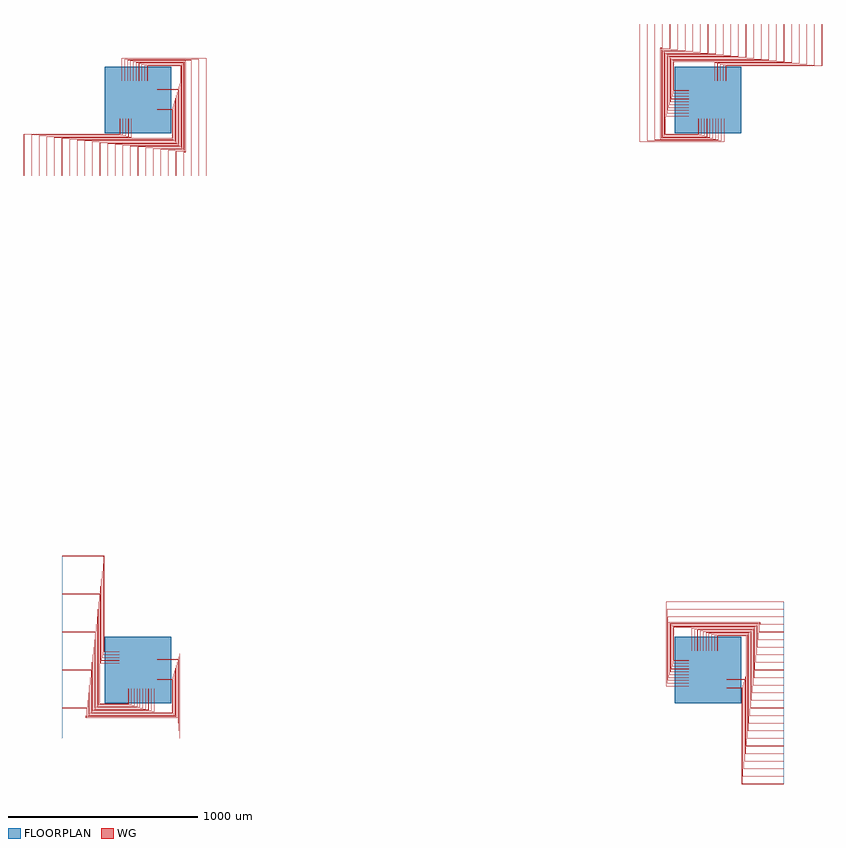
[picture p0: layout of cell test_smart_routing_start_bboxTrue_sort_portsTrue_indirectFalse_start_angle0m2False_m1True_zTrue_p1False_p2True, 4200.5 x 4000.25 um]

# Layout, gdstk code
import gdstk
lib = gdstk.Library(unit=1e-6, precision=1e-09)
def R(c, l, rs):  # rectangles x0, y0, x1, y1
    for r in rs: c.add(gdstk.rectangle(r[:2], r[2:], *l))
def P(c, l, *ps):  # polygons
    for p in ps: c.add(gdstk.Polygon(p, *l))
WG = (1, 0)
FLOORPLAN = (10, 0)

test_smart_routing_start = lib.new_cell('test_smart_routing_start_bboxTrue_sort_portsTrue_indirectFalse_start_angle0m2False_m1True_zTrue_p1False_p2True')
P(test_smart_routing_start, WG, [(-179.5,94.75),(-179.5,599.75),(-400,599.75),(-400,600.25),(-179,600.25),(-179,95.25),(-100,95.25),(-100,94.75)],
  [(-184,79.75),(-184,559.75),(-400,559.75),(-400,560.25),(-183.5,560.25),(-183.5,80.25),(-100,80.25),(-100,79.75)],
  [(-188.5,64.75),(-188.5,519.75),(-400,519.75),(-400,520.25),(-188,520.25),(-188,65.25),(-100,65.25),(-100,64.75)],
  [(-193,49.75),(-193,479.75),(-400,479.75),(-400,480.25),(-192.5,480.25),(-192.5,50.25),(-100,50.25),(-100,49.75)],
  [(-197.5,34.75),(-197.5,439.75),(-400,439.75),(-400,440.25),(-197,440.25),(-197,35.25),(-100,35.25),(-100,34.75)],
  [(-202,-179.5),(-202,399.75),(-400,399.75),(-400,400.25),(-201.5,400.25),(-201.5,-179),(-50.25,-179),(-50.25,-100),(-49.75,-100),(-49.75,-179.5)],
  [(-206.5,-184),(-206.5,359.75),(-400,359.75),(-400,360.25),(-206,360.25),(-206,-183.5),(-35.25,-183.5),(-35.25,-100),(-34.75,-100),(-34.75,-184)],
  [(-211,-188.5),(-211,319.75),(-400,319.75),(-400,320.25),(-210.5,320.25),(-210.5,-188),(-20.25,-188),(-20.25,-100),(-19.75,-100),(-19.75,-188.5)],
  [(-215.5,-193),(-215.5,279.75),(-400,279.75),(-400,280.25),(-215,280.25),(-215,-192.5),(-5.25,-192.5),(-5.25,-100),(-4.75,-100),(-4.75,-193)],
  [(-220,-197.5),(-220,239.75),(-400,239.75),(-400,240.25),(-219.5,240.25),(-219.5,-197),(9.75,-197),(9.75,-100),(10.25,-100),(10.25,-197.5)],
  [(-224.5,-202),(-224.5,199.75),(-400,199.75),(-400,200.25),(-224,200.25),(-224,-201.5),(24.75,-201.5),(24.75,-100),(25.25,-100),(25.25,-202)],
  [(-229,-206.5),(-229,159.75),(-400,159.75),(-400,160.25),(-228.5,160.25),(-228.5,-206),(39.75,-206),(39.75,-100),(40.25,-100),(40.25,-206.5)],
  [(-233.5,-211),(-233.5,119.75),(-400,119.75),(-400,120.25),(-233,120.25),(-233,-210.5),(54.75,-210.5),(54.75,-100),(55.25,-100),(55.25,-211)],
  [(-238,-215.5),(-238,79.75),(-400,79.75),(-400,80.25),(-237.5,80.25),(-237.5,-215),(69.75,-215),(69.75,-100),(70.25,-100),(70.25,-215.5)],
  [(-242.5,-220),(-242.5,39.75),(-400,39.75),(-400,40.25),(-242,40.25),(-242,-219.5),(84.75,-219.5),(84.75,-100),(85.25,-100),(85.25,-220)],
  [(-247,-224.5),(-247,-0.25),(-400,-0.25),(-400,0.25),(-246.5,0.25),(-246.5,-224),(179,-224),(179,-50.25),(100,-50.25),(100,-49.75),(179.5,-49.75),(179.5,-224.5)],
  [(-251.5,-229),(-251.5,-40.25),(-400,-40.25),(-400,-39.75),(-251,-39.75),(-251,-228.5),(183.5,-228.5),(183.5,-35.25),(100,-35.25),(100,-34.75),(184,-34.75),(184,-229)],
  [(-256,-233.5),(-256,-80.25),(-400,-80.25),(-400,-79.75),(-255.5,-79.75),(-255.5,-233),(188,-233),(188,-20.25),(100,-20.25),(100,-19.75),(188.5,-19.75),(188.5,-233.5)],
  [(-260.5,-238),(-260.5,-120.25),(-400,-120.25),(-400,-119.75),(-260,-119.75),(-260,-237.5),(192.5,-237.5),(192.5,-5.25),(100,-5.25),(100,-4.75),(193,-4.75),(193,-238)],
  [(-265,-242.5),(-265,-160.25),(-400,-160.25),(-400,-159.75),(-264.5,-159.75),(-264.5,-242),(197,-242),(197,9.75),(100,9.75),(100,10.25),(197.5,10.25),(197.5,-242.5)],
  [(-269.5,-247),(-269.5,-200.25),(-400,-200.25),(-400,-199.75),(-269,-199.75),(-269,-246.5),(201.5,-246.5),(201.5,24.75),(100,24.75),(100,25.25),(202,25.25),(202,-247)],
  [(-274,-251.5),(-274,-240.25),(-400,-240.25),(-400,-239.75),(-273.5,-239.75),(-273.5,-251),(206,-251),(206,39.75),(100,39.75),(100,40.25),(206.5,40.25),(206.5,-251.5)],
  [(-400,-280.25),(-400,-279.75),(210.5,-279.75),(210.5,54.75),(100,54.75),(100,55.25),(211,55.25),(211,-280.25)],
  [(-400,-320.25),(-400,-319.75),(215,-319.75),(215,69.75),(100,69.75),(100,70.25),(215.5,70.25),(215.5,-320.25)],
  [(-400,-360.25),(-400,-359.75),(219.5,-359.75),(219.5,84.75),(100,84.75),(100,85.25),(220,85.25),(220,-360.25)],
  [(-600.25,2600),(-600.25,2821),(-95.25,2821),(-95.25,2900),(-94.75,2900),(-94.75,2820.5),(-599.75,2820.5),(-599.75,2600)],
  [(-560.25,2600),(-560.25,2816.5),(-80.25,2816.5),(-80.25,2900),(-79.75,2900),(-79.75,2816),(-559.75,2816),(-559.75,2600)],
  [(-520.25,2600),(-520.25,2812),(-65.25,2812),(-65.25,2900),(-64.75,2900),(-64.75,2811.5),(-519.75,2811.5),(-519.75,2600)],
  [(-480.25,2600),(-480.25,2807.5),(-50.25,2807.5),(-50.25,2900),(-49.75,2900),(-49.75,2807),(-479.75,2807),(-479.75,2600)],
  [(-440.25,2600),(-440.25,2803),(-35.25,2803),(-35.25,2900),(-34.75,2900),(-34.75,2802.5),(-439.75,2802.5),(-439.75,2600)],
  [(-400.25,2600),(-400.25,2798.5),(179,2798.5),(179,2949.75),(100,2949.75),(100,2950.25),(179.5,2950.25),(179.5,2798),(-399.75,2798),(-399.75,2600)],
  [(-360.25,2600),(-360.25,2794),(183.5,2794),(183.5,2964.75),(100,2964.75),(100,2965.25),(184,2965.25),(184,2793.5),(-359.75,2793.5),(-359.75,2600)],
  [(-320.25,2600),(-320.25,2789.5),(188,2789.5),(188,2979.75),(100,2979.75),(100,2980.25),(188.5,2980.25),(188.5,2789),(-319.75,2789),(-319.75,2600)],
  [(-280.25,2600),(-280.25,2785),(192.5,2785),(192.5,2994.75),(100,2994.75),(100,2995.25),(193,2995.25),(193,2784.5),(-279.75,2784.5),(-279.75,2600)],
  [(-240.25,2600),(-240.25,2780.5),(197,2780.5),(197,3009.75),(100,3009.75),(100,3010.25),(197.5,3010.25),(197.5,2780),(-239.75,2780),(-239.75,2600)],
  [(-200.25,2600),(-200.25,2776),(201.5,2776),(201.5,3024.75),(100,3024.75),(100,3025.25),(202,3025.25),(202,2775.5),(-199.75,2775.5),(-199.75,2600)],
  [(-160.25,2600),(-160.25,2771.5),(206,2771.5),(206,3039.75),(100,3039.75),(100,3040.25),(206.5,3040.25),(206.5,2771),(-159.75,2771),(-159.75,2600)],
  [(-120.25,2600),(-120.25,2767),(210.5,2767),(210.5,3054.75),(100,3054.75),(100,3055.25),(211,3055.25),(211,2766.5),(-119.75,2766.5),(-119.75,2600)],
  [(-80.25,2600),(-80.25,2762.5),(215,2762.5),(215,3069.75),(100,3069.75),(100,3070.25),(215.5,3070.25),(215.5,2762),(-79.75,2762),(-79.75,2600)],
  [(-40.25,2600),(-40.25,2758),(219.5,2758),(219.5,3084.75),(100,3084.75),(100,3085.25),(220,3085.25),(220,2757.5),(-39.75,2757.5),(-39.75,2600)],
  [(-0.25,2600),(-0.25,2753.5),(224,2753.5),(224,3179),(50.25,3179),(50.25,3100),(49.75,3100),(49.75,3179.5),(224.5,3179.5),(224.5,2753),(0.25,2753),(0.25,2600)],
  [(39.75,2600),(39.75,2749),(228.5,2749),(228.5,3183.5),(35.25,3183.5),(35.25,3100),(34.75,3100),(34.75,3184),(229,3184),(229,2748.5),(40.25,2748.5),(40.25,2600)],
  [(79.75,2600),(79.75,2744.5),(233,2744.5),(233,3188),(20.25,3188),(20.25,3100),(19.75,3100),(19.75,3188.5),(233.5,3188.5),(233.5,2744),(80.25,2744),(80.25,2600)],
  [(119.75,2600),(119.75,2740),(237.5,2740),(237.5,3192.5),(5.25,3192.5),(5.25,3100),(4.75,3100),(4.75,3193),(238,3193),(238,2739.5),(120.25,2739.5),(120.25,2600)],
  [(159.75,2600),(159.75,2735.5),(242,2735.5),(242,3197),(-9.75,3197),(-9.75,3100),(-10.25,3100),(-10.25,3197.5),(242.5,3197.5),(242.5,2735),(160.25,2735),(160.25,2600)],
  [(199.75,2600),(199.75,2731),(246.5,2731),(246.5,3201.5),(-24.75,3201.5),(-24.75,3100),(-25.25,3100),(-25.25,3202),(247,3202),(247,2730.5),(200.25,2730.5),(200.25,2600)],
  [(239.75,2600),(239.75,2726.5),(251,2726.5),(251,3206),(-39.75,3206),(-39.75,3100),(-40.25,3100),(-40.25,3206.5),(251.5,3206.5),(251.5,2726),(240.25,2726),(240.25,2600)],
  [(279.75,2600),(279.75,3210.5),(-54.75,3210.5),(-54.75,3100),(-55.25,3100),(-55.25,3211),(280.25,3211),(280.25,2600)],
  [(319.75,2600),(319.75,3215),(-69.75,3215),(-69.75,3100),(-70.25,3100),(-70.25,3215.5),(320.25,3215.5),(320.25,2600)],
  [(359.75,2600),(359.75,3219.5),(-84.75,3219.5),(-84.75,3100),(-85.25,3100),(-85.25,3220),(360.25,3220),(360.25,2600)],
  [(3179,-600.25),(3179,-95.25),(3100,-95.25),(3100,-94.75),(3179.5,-94.75),(3179.5,-599.75),(3400,-599.75),(3400,-600.25)],
  [(3183.5,-560.25),(3183.5,-80.25),(3100,-80.25),(3100,-79.75),(3184,-79.75),(3184,-559.75),(3400,-559.75),(3400,-560.25)],
  [(3188,-520.25),(3188,-65.25),(3100,-65.25),(3100,-64.75),(3188.5,-64.75),(3188.5,-519.75),(3400,-519.75),(3400,-520.25)],
  [(3192.5,-480.25),(3192.5,-50.25),(3100,-50.25),(3100,-49.75),(3193,-49.75),(3193,-479.75),(3400,-479.75),(3400,-480.25)],
  [(3197,-440.25),(3197,-35.25),(3100,-35.25),(3100,-34.75),(3197.5,-34.75),(3197.5,-439.75),(3400,-439.75),(3400,-440.25)],
  [(3201.5,-400.25),(3201.5,179),(3050.25,179),(3050.25,100),(3049.75,100),(3049.75,179.5),(3202,179.5),(3202,-399.75),(3400,-399.75),(3400,-400.25)],
  [(3206,-360.25),(3206,183.5),(3035.25,183.5),(3035.25,100),(3034.75,100),(3034.75,184),(3206.5,184),(3206.5,-359.75),(3400,-359.75),(3400,-360.25)],
  [(3210.5,-320.25),(3210.5,188),(3020.25,188),(3020.25,100),(3019.75,100),(3019.75,188.5),(3211,188.5),(3211,-319.75),(3400,-319.75),(3400,-320.25)],
  [(3215,-280.25),(3215,192.5),(3005.25,192.5),(3005.25,100),(3004.75,100),(3004.75,193),(3215.5,193),(3215.5,-279.75),(3400,-279.75),(3400,-280.25)],
  [(3219.5,-240.25),(3219.5,197),(2990.25,197),(2990.25,100),(2989.75,100),(2989.75,197.5),(3220,197.5),(3220,-239.75),(3400,-239.75),(3400,-240.25)],
  [(3224,-200.25),(3224,201.5),(2975.25,201.5),(2975.25,100),(2974.75,100),(2974.75,202),(3224.5,202),(3224.5,-199.75),(3400,-199.75),(3400,-200.25)],
  [(3228.5,-160.25),(3228.5,206),(2960.25,206),(2960.25,100),(2959.75,100),(2959.75,206.5),(3229,206.5),(3229,-159.75),(3400,-159.75),(3400,-160.25)],
  [(3233,-120.25),(3233,210.5),(2945.25,210.5),(2945.25,100),(2944.75,100),(2944.75,211),(3233.5,211),(3233.5,-119.75),(3400,-119.75),(3400,-120.25)],
  [(3237.5,-80.25),(3237.5,215),(2930.25,215),(2930.25,100),(2929.75,100),(2929.75,215.5),(3238,215.5),(3238,-79.75),(3400,-79.75),(3400,-80.25)],
  [(3242,-40.25),(3242,219.5),(2915.25,219.5),(2915.25,100),(2914.75,100),(2914.75,220),(3242.5,220),(3242.5,-39.75),(3400,-39.75),(3400,-40.25)],
  [(3246.5,-0.25),(3246.5,224),(2821,224),(2821,50.25),(2900,50.25),(2900,49.75),(2820.5,49.75),(2820.5,224.5),(3247,224.5),(3247,0.25),(3400,0.25),(3400,-0.25)],
  [(2816,34.75),(2816,229),(3251.5,229),(3251.5,40.25),(3400,40.25),(3400,39.75),(3251,39.75),(3251,228.5),(2816.5,228.5),(2816.5,35.25),(2900,35.25),(2900,34.75)],
  [(2811.5,19.75),(2811.5,233.5),(3256,233.5),(3256,80.25),(3400,80.25),(3400,79.75),(3255.5,79.75),(3255.5,233),(2812,233),(2812,20.25),(2900,20.25),(2900,19.75)],
  [(2807,4.75),(2807,238),(3260.5,238),(3260.5,120.25),(3400,120.25),(3400,119.75),(3260,119.75),(3260,237.5),(2807.5,237.5),(2807.5,5.25),(2900,5.25),(2900,4.75)],
  [(2802.5,-10.25),(2802.5,242.5),(3265,242.5),(3265,160.25),(3400,160.25),(3400,159.75),(3264.5,159.75),(3264.5,242),(2803,242),(2803,-9.75),(2900,-9.75),(2900,-10.25)],
  [(2798,-25.25),(2798,247),(3269.5,247),(3269.5,200.25),(3400,200.25),(3400,199.75),(3269,199.75),(3269,246.5),(2798.5,246.5),(2798.5,-24.75),(2900,-24.75),(2900,-25.25)],
  [(2793.5,-40.25),(2793.5,251.5),(3274,251.5),(3274,240.25),(3400,240.25),(3400,239.75),(3273.5,239.75),(3273.5,251),(2794,251),(2794,-39.75),(2900,-39.75),(2900,-40.25)],
  [(2789,-55.25),(2789,280.25),(3400,280.25),(3400,279.75),(2789.5,279.75),(2789.5,-54.75),(2900,-54.75),(2900,-55.25)],
  [(2784.5,-70.25),(2784.5,320.25),(3400,320.25),(3400,319.75),(2785,319.75),(2785,-69.75),(2900,-69.75),(2900,-70.25)],
  [(2780,-85.25),(2780,360.25),(3400,360.25),(3400,359.75),(2780.5,359.75),(2780.5,-84.75),(2900,-84.75),(2900,-85.25)],
  [(3094.75,3100),(3094.75,3179.5),(3599.75,3179.5),(3599.75,3400),(3600.25,3400),(3600.25,3179),(3095.25,3179),(3095.25,3100)],
  [(3079.75,3100),(3079.75,3184),(3559.75,3184),(3559.75,3400),(3560.25,3400),(3560.25,3183.5),(3080.25,3183.5),(3080.25,3100)],
  [(3064.75,3100),(3064.75,3188.5),(3519.75,3188.5),(3519.75,3400),(3520.25,3400),(3520.25,3188),(3065.25,3188),(3065.25,3100)],
  [(3049.75,3100),(3049.75,3193),(3479.75,3193),(3479.75,3400),(3480.25,3400),(3480.25,3192.5),(3050.25,3192.5),(3050.25,3100)],
  [(3034.75,3100),(3034.75,3197.5),(3439.75,3197.5),(3439.75,3400),(3440.25,3400),(3440.25,3197),(3035.25,3197),(3035.25,3100)],
  [(2820.5,3049.75),(2820.5,3202),(3399.75,3202),(3399.75,3400),(3400.25,3400),(3400.25,3201.5),(2821,3201.5),(2821,3050.25),(2900,3050.25),(2900,3049.75)],
  [(2816,3034.75),(2816,3206.5),(3359.75,3206.5),(3359.75,3400),(3360.25,3400),(3360.25,3206),(2816.5,3206),(2816.5,3035.25),(2900,3035.25),(2900,3034.75)],
  [(2811.5,3019.75),(2811.5,3211),(3319.75,3211),(3319.75,3400),(3320.25,3400),(3320.25,3210.5),(2812,3210.5),(2812,3020.25),(2900,3020.25),(2900,3019.75)],
  [(2807,3004.75),(2807,3215.5),(3279.75,3215.5),(3279.75,3400),(3280.25,3400),(3280.25,3215),(2807.5,3215),(2807.5,3005.25),(2900,3005.25),(2900,3004.75)],
  [(2802.5,2989.75),(2802.5,3220),(3239.75,3220),(3239.75,3400),(3240.25,3400),(3240.25,3219.5),(2803,3219.5),(2803,2990.25),(2900,2990.25),(2900,2989.75)],
  [(2798,2974.75),(2798,3224.5),(3199.75,3224.5),(3199.75,3400),(3200.25,3400),(3200.25,3224),(2798.5,3224),(2798.5,2975.25),(2900,2975.25),(2900,2974.75)],
  [(2793.5,2959.75),(2793.5,3229),(3159.75,3229),(3159.75,3400),(3160.25,3400),(3160.25,3228.5),(2794,3228.5),(2794,2960.25),(2900,2960.25),(2900,2959.75)],
  [(2789,2944.75),(2789,3233.5),(3119.75,3233.5),(3119.75,3400),(3120.25,3400),(3120.25,3233),(2789.5,3233),(2789.5,2945.25),(2900,2945.25),(2900,2944.75)],
  [(2784.5,2929.75),(2784.5,3238),(3079.75,3238),(3079.75,3400),(3080.25,3400),(3080.25,3237.5),(2785,3237.5),(2785,2930.25),(2900,2930.25),(2900,2929.75)],
  [(2780,2914.75),(2780,3242.5),(3039.75,3242.5),(3039.75,3400),(3040.25,3400),(3040.25,3242),(2780.5,3242),(2780.5,2915.25),(2900,2915.25),(2900,2914.75)],
  [(2775.5,2820.5),(2775.5,3247),(2999.75,3247),(2999.75,3400),(3000.25,3400),(3000.25,3246.5),(2776,3246.5),(2776,2821),(2949.75,2821),(2949.75,2900),(2950.25,2900),(2950.25,2820.5)],
  [(2771,2816),(2771,3251.5),(2959.75,3251.5),(2959.75,3400),(2960.25,3400),(2960.25,3251),(2771.5,3251),(2771.5,2816.5),(2964.75,2816.5),(2964.75,2900),(2965.25,2900),(2965.25,2816)],
  [(2766.5,2811.5),(2766.5,3256),(2919.75,3256),(2919.75,3400),(2920.25,3400),(2920.25,3255.5),(2767,3255.5),(2767,2812),(2979.75,2812),(2979.75,2900),(2980.25,2900),(2980.25,2811.5)],
  [(2762,2807),(2762,3260.5),(2879.75,3260.5),(2879.75,3400),(2880.25,3400),(2880.25,3260),(2762.5,3260),(2762.5,2807.5),(2994.75,2807.5),(2994.75,2900),(2995.25,2900),(2995.25,2807)],
  [(2757.5,2802.5),(2757.5,3265),(2839.75,3265),(2839.75,3400),(2840.25,3400),(2840.25,3264.5),(2758,3264.5),(2758,2803),(3009.75,2803),(3009.75,2900),(3010.25,2900),(3010.25,2802.5)],
  [(2753,2798),(2753,3269.5),(2799.75,3269.5),(2799.75,3400),(2800.25,3400),(2800.25,3269),(2753.5,3269),(2753.5,2798.5),(3024.75,2798.5),(3024.75,2900),(3025.25,2900),(3025.25,2798)],
  [(2748.5,2793.5),(2748.5,3274),(2759.75,3274),(2759.75,3400),(2760.25,3400),(2760.25,3273.5),(2749,3273.5),(2749,2794),(3039.75,2794),(3039.75,2900),(3040.25,2900),(3040.25,2793.5)],
  [(2719.75,2789),(2719.75,3400),(2720.25,3400),(2720.25,2789.5),(3054.75,2789.5),(3054.75,2900),(3055.25,2900),(3055.25,2789)],
  [(2679.75,2784.5),(2679.75,3400),(2680.25,3400),(2680.25,2785),(3069.75,2785),(3069.75,2900),(3070.25,2900),(3070.25,2784.5)],
  [(2639.75,2780),(2639.75,3400),(2640.25,3400),(2640.25,2780.5),(3084.75,2780.5),(3084.75,2900),(3085.25,2900),(3085.25,2780)])
R(test_smart_routing_start, FLOORPLAN, [(-175,-175,175,175), (2825,-175,3175,175), (-175,2825,175,3175), (2825,2825,3175,3175)])
P(test_smart_routing_start, FLOORPLAN, [(-400,-360),(-400,600),(-400,600),(-400,-360)],
  [(-600,2600),(-600,2600),(360,2600),(360,2600)],
  [(3400,-600),(3400,360),(3400,360),(3400,-600)],
  [(2640,3400),(2640,3400),(3600,3400),(3600,3400)])

lib.write_gds('test_smart_routing_start_bboxTrue_sort_portsTrue_indirectFalse_start_angle0m2False_m1True_zTrue_p1False_p2True.gds')
